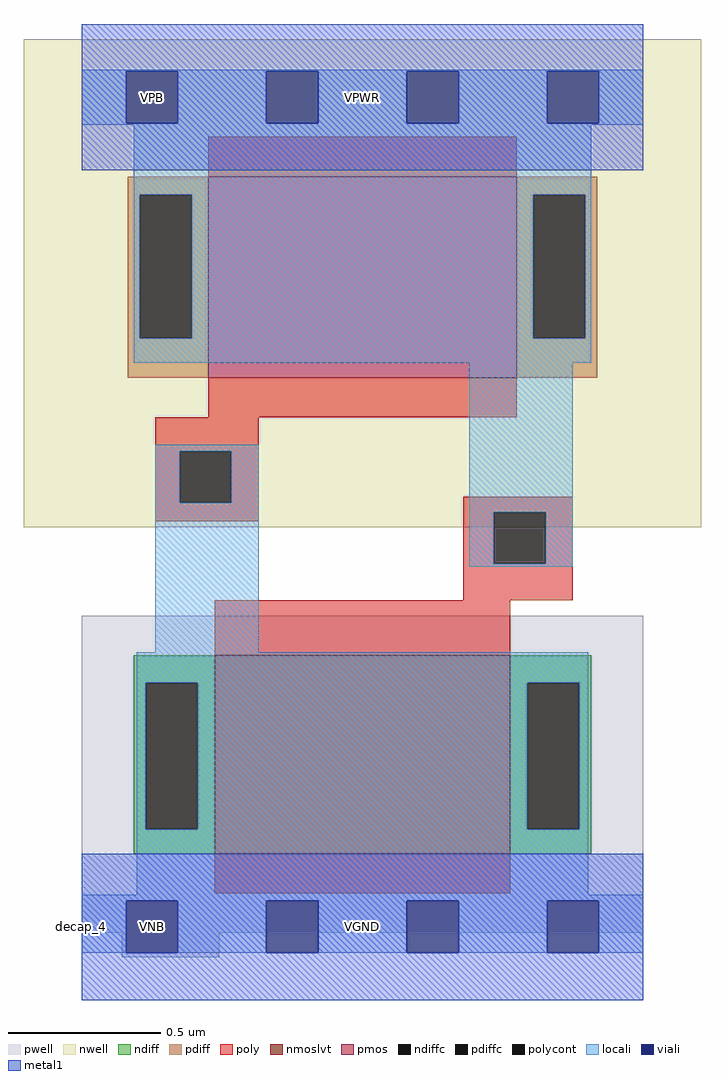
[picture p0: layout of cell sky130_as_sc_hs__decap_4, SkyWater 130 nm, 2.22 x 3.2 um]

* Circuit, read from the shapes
.subckt sky130_as_sc_hs__decap_4 VNB VPB VPWR VGND
XM1 VGND VPWR VGND VNB sky130_fd_pr__nfet_01v8_lvt w=0.65 l=0.97
XM2 VPWR VGND VPWR VPB sky130_fd_pr__pfet_01v8 w=0.66 l=1.01
.ends

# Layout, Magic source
magic
tech sky130A
magscale 1 2
<< nwell >>
rect -38 262 406 582
<< pwell >>
rect 0 -4 368 204
rect 26 -20 90 -4
<< pmos >>
rect 83 360 285 492
<< nmoslvt >>
rect 87 48 281 178
<< ndiff >>
rect 34 160 87 178
rect 34 64 42 160
rect 76 64 87 160
rect 34 48 87 64
rect 281 160 334 178
rect 281 64 292 160
rect 326 64 334 160
rect 281 48 334 64
<< pdiff >>
rect 30 480 83 492
rect 30 386 38 480
rect 72 386 83 480
rect 30 360 83 386
rect 285 480 338 492
rect 285 386 296 480
rect 330 386 338 480
rect 285 360 338 386
<< ndiffc >>
rect 42 64 76 160
rect 292 64 326 160
<< pdiffc >>
rect 38 386 72 480
rect 296 386 330 480
<< poly >>
rect 83 492 285 518
rect 83 334 285 360
rect 48 312 116 334
rect 48 278 64 312
rect 98 278 116 312
rect 48 266 116 278
rect 250 272 322 282
rect 250 238 270 272
rect 304 238 322 272
rect 250 214 322 238
rect 87 178 281 214
rect 87 22 281 48
<< polycont >>
rect 64 278 98 312
rect 270 238 304 272
<< locali >>
rect 0 561 368 562
rect 0 527 29 561
rect 63 527 121 561
rect 155 527 213 561
rect 247 527 305 561
rect 339 527 368 561
rect 0 526 368 527
rect 34 480 334 526
rect 34 386 38 480
rect 72 386 296 480
rect 330 386 334 480
rect 34 370 334 386
rect 48 312 116 316
rect 48 278 64 312
rect 98 278 116 312
rect 48 180 116 278
rect 254 272 322 370
rect 254 238 270 272
rect 304 238 322 272
rect 254 236 322 238
rect 36 160 332 180
rect 36 64 42 160
rect 76 64 292 160
rect 326 64 332 160
rect 36 21 332 64
rect 0 17 368 21
rect 0 -17 29 17
rect 63 -17 121 17
rect 155 -17 213 17
rect 247 -17 305 17
rect 339 -17 368 17
<< viali >>
rect 29 527 63 561
rect 121 527 155 561
rect 213 527 247 561
rect 305 527 339 561
rect 29 -17 63 17
rect 121 -17 155 17
rect 213 -17 247 17
rect 305 -17 339 17
<< metal1 >>
rect 0 561 368 592
rect 0 527 29 561
rect 63 527 121 561
rect 155 527 213 561
rect 247 527 305 561
rect 339 527 368 561
rect 0 496 368 527
rect 0 17 368 48
rect 0 -17 29 17
rect 63 -17 121 17
rect 155 -17 213 17
rect 247 -17 305 17
rect 339 -17 368 17
rect 0 -48 368 -17
<< labels >>
rlabel comment s 0 0 0 0 4 decap_4
flabel pwell s 29 -17 63 17 0 FreeSans 200 0 0 0 VNB
port 1 nsew ground bidirectional
flabel pwell s 46 0 46 0 0 FreeSans 200 0 0 0 VNB
flabel nwell s 29 527 63 561 0 FreeSans 200 0 0 0 VPB
port 2 nsew power bidirectional
flabel nwell s 46 544 46 544 0 FreeSans 200 0 0 0 VPB
flabel metal1 s 29 527 63 561 0 FreeSans 200 0 0 0 VPWR
port 3 nsew power bidirectional abutment
flabel metal1 s 29 -17 63 17 0 FreeSans 200 0 0 0 VGND
port 4 nsew ground bidirectional abutment
rlabel metal1 s 0 -48 368 48 1 VGND
port 4 nsew ground bidirectional abutment
rlabel metal1 s 0 496 368 592 1 VPWR
port 3 nsew power bidirectional abutment
<< properties >>
string FIXED_BBOX 0 0 368 544
string GDS_FILE $PDKPATH/libs.ref/sky130_as_sc_hs/gds/sky130_as_sc_hs__decap_4.gds
string LEFclass CORE
string LEFsite unithd
string LEFsymmetry X Y R90
string MASKHINTS_LVTN 0 -4 368 224
string MASKHINTS_NSDM 0 -38 368 203
string MASKHINTS_PSDM 0 335 368 582
<< end >>
